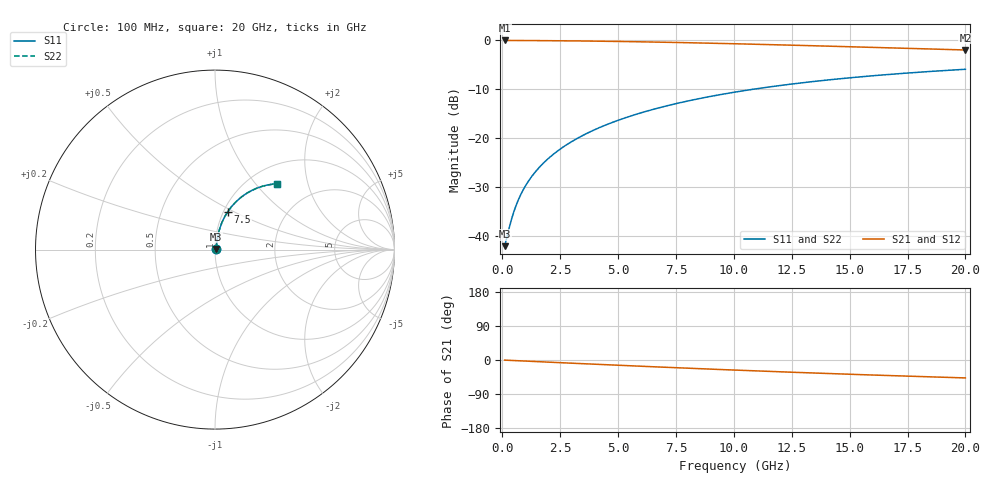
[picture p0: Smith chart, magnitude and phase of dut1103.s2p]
! Touchstone file exported from HFSS 2024.1.0
!  File:  C:/UserFiles/LocalFiles/RDL_TSV_Batchsim/temp_RDL_top_1103_1780046389.aedt
!  Generated:  05:22:17 PM May 29, 2026
!  Design:  RDL_top
!  Project:  temp_RDL_top_1103_1780046389
!  Setup:  Setup1
!  Solution:  Sweep
! Variables:
!  dtsv = 10.80580581um
!  hbump = 3um
!  htsv = 96.75um
!  ldown = 100um
!  lrdl = 599.39um
!  p = 40
!  p1 = 52.04um
!  rhole = 1um
!  t = 450um
!  tdown = 3.915915916um
!  trdl = 2.1um
!  wdown = 15.38538539um
!  wrdl = 14.54um
# GHz S MA R 50.000000
! Terminal data exported
! Port[1] = Box2_T1
! Port[2] = Box2_T2
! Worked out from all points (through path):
!   200 points, 100 MHz to 20 GHz, reference 50 ohm
!   highest |S21| = -0.06 dB at 100 MHz (marker M1); lowest = -2.0 dB at 20 GHz (marker M2)
!   group delay of S21, straight-line fit = 6.57 ps
!   lowest |S11| = -42.2 dB at 100 MHz (marker M3), VSWR 1.02, Z = 50.7 + j0.324 ohm
!   |S11| at or under -10 dB: start of sweep to 10.91 GHz
!   |S22| runs from -42.2 to -6.0 dB; largest |S21 - S12| = 3.4e-15
!   S11 on the Smith chart (normalised r, x): 100 MHz: 1.01, +0.01; 7.5 GHz: 1.05, +0.47; 20 GHz: 1.33, +1.30
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0.1  0.007786 24.2  0.9929 -0.3  0.9929 -0.3  0.007786 24.2
! Gamma 0 0 0 0
! Port Impedance 50 0 50 0
0.4  0.01474 59.3  0.9925 -1.2  0.9925 -1.2  0.01474 59.3
0.5  0.01757 63.8  0.9923 -1.5  0.9923 -1.5  0.01757 63.8
0.6  0.02047 66.9  0.9921 -1.7  0.9921 -1.7  0.02047 66.9
0.7  0.0234 69.2  0.9918 -2.0  0.9918 -2.0  0.0234 69.2
0.9  0.02928 72.3  0.9913 -2.6  0.9913 -2.6  0.02928 72.3
1.2  0.03813 75.0  0.9905 -3.4  0.9905 -3.4  0.03813 75.0
1.4  0.04404 76.1  0.9899 -4.0  0.9899 -4.0  0.04404 76.1
1.7  0.05292 77.1  0.9889 -4.8  0.9889 -4.8  0.05292 77.1
2.2  0.06778 78.0  0.987 -6.2  0.987 -6.2  0.06778 78.0
2.8  0.08567 78.2  0.9843 -7.9  0.9843 -7.9  0.08566 78.2
3.5  0.1066 77.8  0.9805 -9.8  0.9805 -9.8  0.1066 77.8
4.2  0.1275 77.0  0.9761 -11.7  0.9761 -11.7  0.1275 77.0
5  0.1512 75.9  0.9702 -13.9  0.9702 -13.9  0.1512 75.8
5.9  0.1778 74.3  0.9626 -16.3  0.9626 -16.3  0.1777 74.3
6.8  0.2039 72.7  0.9542 -18.6  0.9542 -18.6  0.2039 72.7
7.5  0.224 71.3  0.9472 -20.4  0.9472 -20.4  0.224 71.3
8.7  0.2576 68.9  0.9343 -23.4  0.9343 -23.4  0.2576 68.9
10.1  0.2953 66.0  0.9181 -26.8  0.9181 -26.8  0.2953 66.0
13.4  0.3765 59.2  0.877 -34.2  0.877 -34.2  0.3764 59.1
16.7  0.4458 52.7  0.8346 -41.1  0.8346 -41.1  0.4457 52.7
20  0.5034 46.7  0.7933 -47.3  0.7933 -47.3  0.5033 46.7
